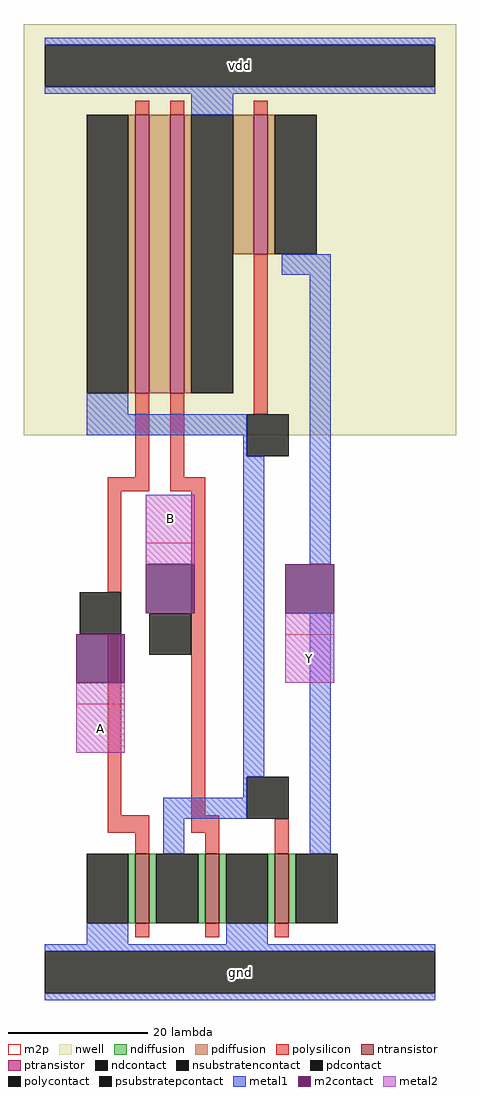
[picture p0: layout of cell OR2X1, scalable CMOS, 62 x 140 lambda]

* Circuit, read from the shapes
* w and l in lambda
.subckt OR2X1 A B Y vdd gnd
M1 n1 A gnd gnd nfet w=10 l=2
M2 gnd B n1 gnd nfet w=10 l=2
M3 Y n1 gnd gnd nfet w=10 l=2
M4 n2 A n1 vdd pfet w=40 l=2
M5 vdd B n2 vdd pfet w=40 l=2
M6 Y n1 vdd vdd pfet w=20 l=2
.ends

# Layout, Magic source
magic
tech scmos
magscale 1 2
<< nwell >>
rect -12 154 112 272
<< ntransistor >>
rect 20 14 24 34
rect 40 14 44 34
rect 60 14 64 34
<< ptransistor >>
rect 20 166 24 246
rect 30 166 34 246
rect 54 206 58 246
<< ndiffusion >>
rect 18 14 20 34
rect 24 14 26 34
rect 38 14 40 34
rect 44 14 46 34
rect 58 14 60 34
rect 64 14 66 34
<< pdiffusion >>
rect 18 166 20 246
rect 24 166 30 246
rect 34 166 36 246
rect 48 206 54 246
rect 58 206 60 246
<< ndcontact >>
rect 6 14 18 34
rect 26 14 38 34
rect 46 14 58 34
rect 66 14 78 34
<< pdcontact >>
rect 6 166 18 246
rect 36 166 48 246
rect 60 206 72 246
<< psubstratepcontact >>
rect -6 -6 106 6
<< nsubstratencontact >>
rect -6 254 106 266
<< polysilicon >>
rect 20 246 24 250
rect 30 246 34 250
rect 54 246 58 250
rect 20 142 24 166
rect 12 138 24 142
rect 30 142 34 166
rect 54 160 58 206
rect 30 138 40 142
rect 12 109 16 138
rect 12 45 16 97
rect 36 45 40 138
rect 12 40 24 45
rect 36 40 44 45
rect 20 34 24 40
rect 40 34 44 40
rect 60 34 64 44
rect 20 10 24 14
rect 40 10 44 14
rect 60 10 64 14
<< polycontact >>
rect 52 148 64 160
rect 4 97 16 109
rect 24 91 36 103
rect 52 44 64 56
<< metal1 >>
rect -6 266 106 268
rect -6 252 106 254
rect 36 246 48 252
rect 62 200 76 206
rect 6 160 18 166
rect 6 154 52 160
rect 51 148 52 154
rect 51 56 57 148
rect 70 117 76 200
rect 51 50 52 56
rect 28 44 52 50
rect 28 34 34 44
rect 70 34 76 103
rect 6 8 18 14
rect 46 8 58 14
rect -6 6 106 8
rect -6 -8 106 -6
<< m2contact >>
rect 23 103 37 117
rect 3 83 17 97
rect 63 103 77 117
<< metal2 >>
rect 23 117 37 137
rect 63 83 77 103
rect 3 63 17 83
<< m2p >>
rect 23 123 37 137
rect 63 83 77 97
rect 3 63 17 77
<< labels >>
rlabel metal2 3 63 17 77 0 A
port 0 nsew signal input
rlabel metal2 23 123 37 137 0 B
port 1 nsew signal input
rlabel metal2 63 83 77 97 0 Y
port 2 nsew signal output
rlabel metal1 -6 252 106 268 0 vdd
port 3 nsew power bidirectional abutment
rlabel metal1 -6 -8 106 8 0 gnd
port 4 nsew ground bidirectional abutment
<< properties >>
string FIXED_BBOX 0 0 100 260
string LEFclass CORE
string LEFsite core
string LEFsymmetry X Y
<< end >>
